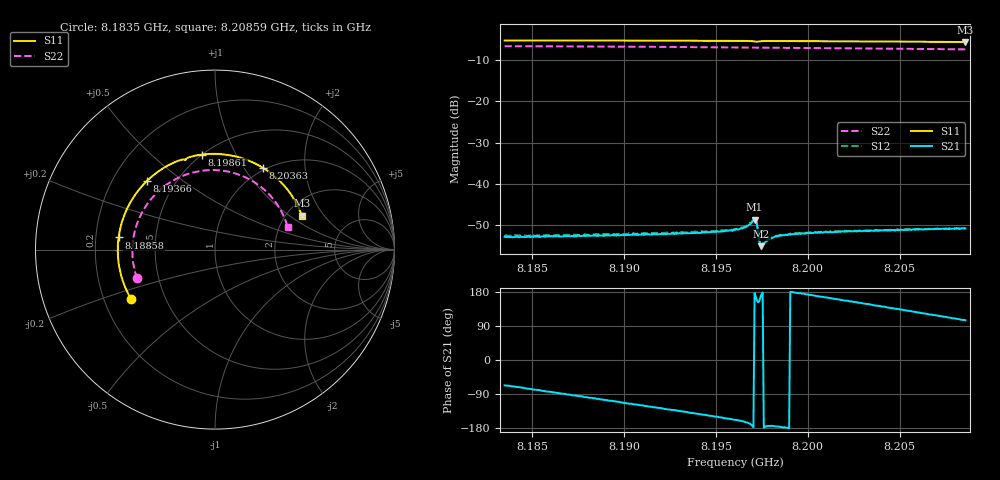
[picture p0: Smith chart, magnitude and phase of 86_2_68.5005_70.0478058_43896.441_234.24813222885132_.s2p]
#  HZ  S  RI  R  50.00
! Rohde & Schwarz Vector Network Analyzer
! Rohde-Schwarz,ZNB20-2Port,1311601062101988,3.16
! Created: UTC 3/20/2024, 5:07:36 PM
! freq[Hz]  re:S11  im:S11  re:S21  im:S21  re:S12  im:S12  re:S22  im:S22
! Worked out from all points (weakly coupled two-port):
!   401 points, 8.1835 GHz to 8.20859 GHz, reference 50 ohm
!   highest |S21| = -48.63 dB at 8.19711 GHz (marker M1); lowest = -55.1 dB at 8.19749 GHz (marker M2)
!   lowest |S11| = -5.7 dB at 8.20859 GHz (marker M3), VSWR 3.16, Z = 121 + j62.5 ohm
!   |S11| at or under -10 dB: nowhere
!   |S22| runs from -7.5 to -6.7 dB; largest |S21 - S12| = 0.00019
!   S11 on the Smith chart (normalised r, x): 8.1835 GHz: 0.32, -0.25; 8.18858 GHz: 0.30, +0.06; 8.19366 GHz: 0.35, +0.37; 8.19861 GHz: 0.50, +0.74; 8.20363 GHz: 0.97, +1.22; 8.20859 GHz: 2.42, +1.25
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8.183501e9  -0.469 -0.2736  0.000894 -0.00211  0.000881 -0.00216  -0.4348 -0.16
8.185696e9  -0.5261 -0.1323  0.000311 -0.00228  0.000265 -0.00238  -0.4594 -0.0406
8.187703e9  -0.5417 0.00674  -0.000232 -0.00234  -0.000314 -0.00241  -0.4536 0.0704
8.188581e9  -0.5372 0.0678  -0.000515 -0.00231  -0.000537 -0.00237  -0.4427 0.118
8.190211e9  -0.5104 0.1786  -0.000996 -0.00219  -0.00107 -0.00223  -0.4092 0.202
8.191905e9  -0.4585 0.2852  -0.00147 -0.00198  -0.00158 -0.00199  -0.3572 0.2806
8.193661e9  -0.381 0.3809  -0.00194 -0.00163  -0.00206 -0.00164  -0.2872 0.3489
8.196044e9  -0.2441 0.4782  -0.00258 -0.00105  -0.00265 -0.000984  -0.1712 0.4144
8.196545e9  -0.2109 0.4927  -0.00283 -0.000865  -0.00291 -0.000781  -0.1445 0.4235
8.19711e9  -0.1688 0.5011  -0.0037 0.000229  -0.00375 0.000362  -0.1138 0.4316
8.197172e9  -0.1651 0.4992  -0.00358 0.000797  -0.00361 0.000961  -0.1102 0.4325
8.197361e9  -0.163 0.5027  -0.00188 0.000874  -0.00185 0.000936  -0.1002 0.4347
8.197486e9  -0.1555 0.5093  -0.00175 0.000208  -0.00181 0.000304  -0.0933 0.436
8.197549e9  -0.1509 0.5117  -0.00182 6.23e-05  -0.00189 0.000139  -0.0897 0.4366
8.198113e9  -0.1101 0.5235  -0.00224 -0.000229  -0.00226 -0.000144  -0.058 0.441
8.198615e9  -0.0745 0.5292  -0.00239 -0.000119  -0.00245 -2.55e-05  -0.0296 0.443
8.200245e9  0.041 0.5312  -0.00252 0.000406  -0.00254 0.00052  0.0628 0.4364
8.201876e9  0.1536 0.5081  -0.00249 0.000985  -0.00244 0.0011  0.1522 0.4106
8.203632e9  0.2665 0.4563  -0.00219 0.00159  -0.00217 0.0017  0.2404 0.3614
8.204447e9  0.3138 0.4234  -0.00204 0.00183  -0.00198 0.0019  0.2773 0.3318
8.206642e9  0.421 0.3109  -0.00141 0.00245  -0.00137 0.00249  0.3588 0.2327
8.208586e9  0.4843 0.1884  -0.000743 0.00279  -0.000692 0.00285  0.4041 0.1264
